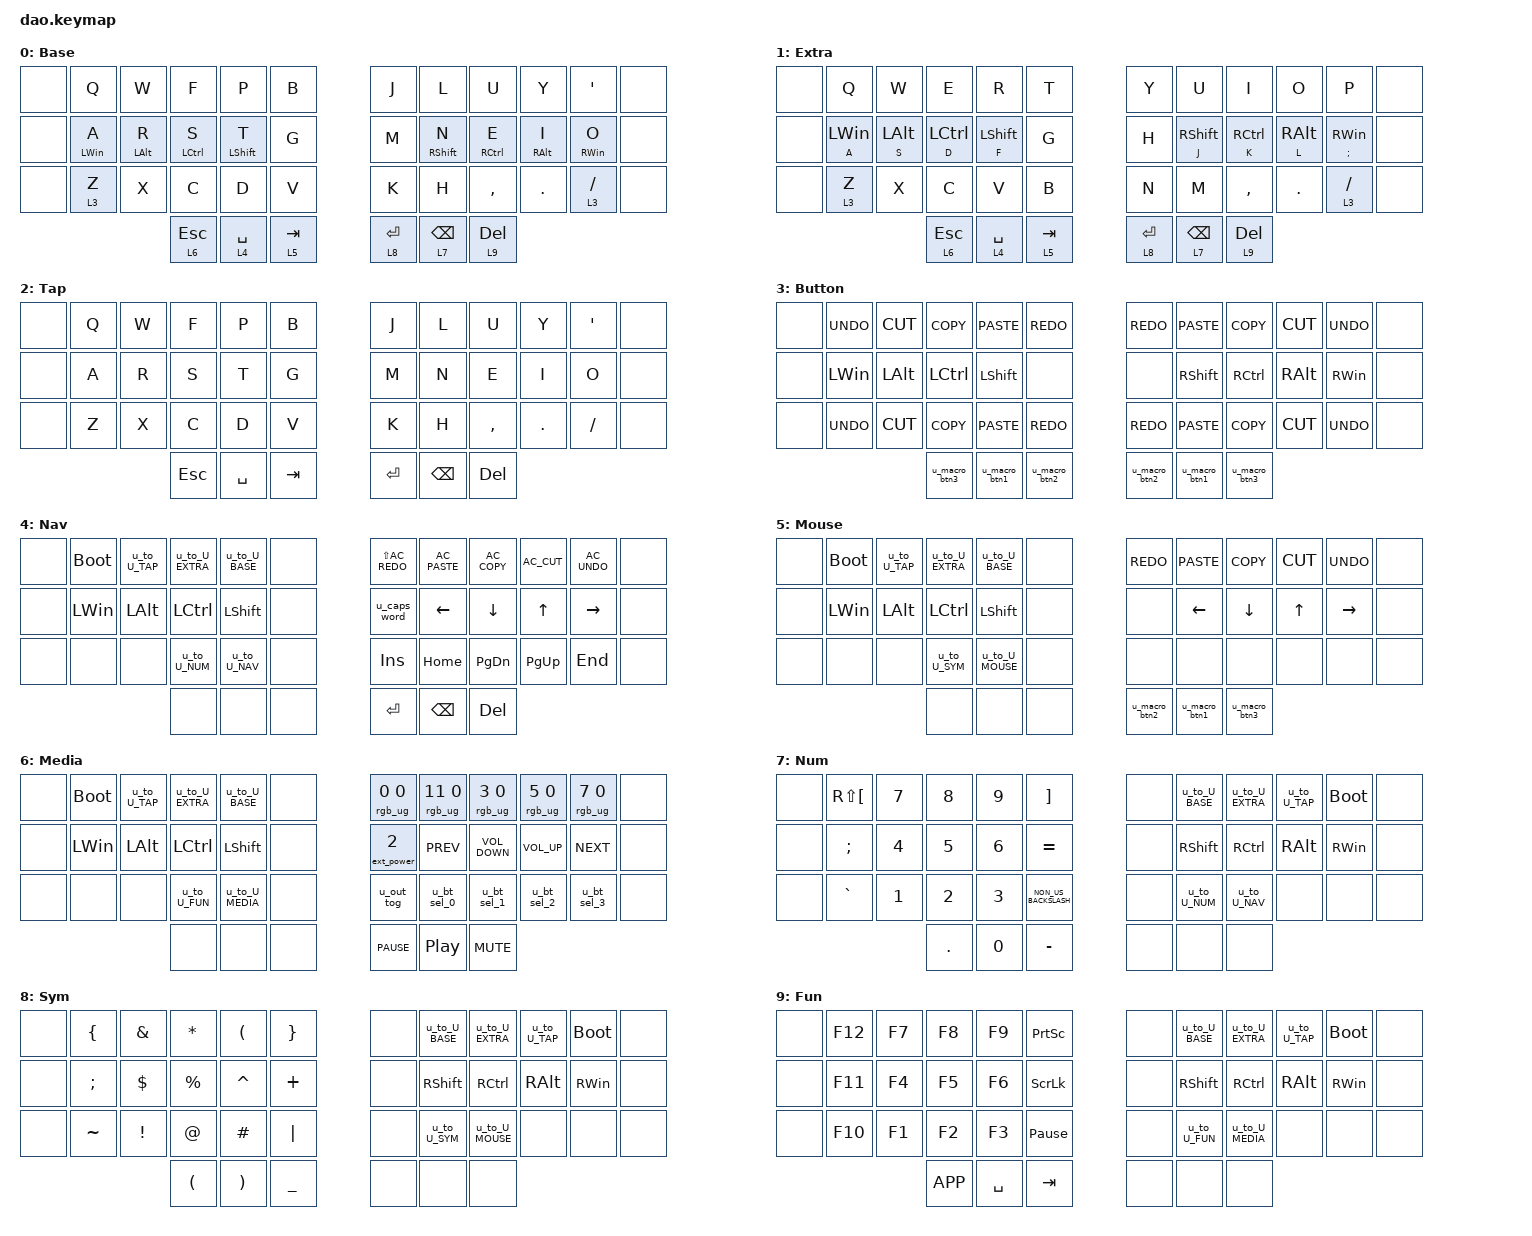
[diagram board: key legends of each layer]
/*
 * Copyright (c) 2021 Rafael Yumagulov
 *
 * SPDX-License-Identifier: MIT
 */

#include <behaviors.dtsi>
#include <dt-bindings/zmk/bt.h>
#include <dt-bindings/zmk/ext_power.h>
#include <dt-bindings/zmk/keys.h>
#include <dt-bindings/zmk/outputs.h>
#include <dt-bindings/zmk/rgb.h>

/ {
    behaviors {
        /omit-if-no-ref/

        cp: kp: behavior_key_press {
            compatible = "zmk,behavior-key-press";
            label = "KEY_PRESS";
            #binding-cells = <1>;
        };
    };
};

/ {
    behaviors {
        /omit-if-no-ref/

        kt: behavior_key_toggle {
            compatible = "zmk,behavior-key-toggle";
            label = "KEY_TOGGLE";
            #binding-cells = <1>;
        };
    };
};

/ {
    behaviors {
        /omit-if-no-ref/

        trans: behavior_transparent {
            compatible = "zmk,behavior-transparent";
            label = "TRANS";
            #binding-cells = <0>;
        };
    };
};

/ {
    behaviors {
        /omit-if-no-ref/

        none: behavior_none {
            compatible = "zmk,behavior-none";
            label = "NONE";
            #binding-cells = <0>;
        };
    };
};

/ {
    behaviors {
        /omit-if-no-ref/

        mt: behavior_mod_tap {
            compatible = "zmk,behavior-hold-tap";
            label = "MOD_TAP";
            #binding-cells = <2>;
            flavor = "hold-preferred";
            tapping-term-ms = <200>;
            bindings =
                <&kp>,
                <&kp>;
        };
    };
};

/ {
    behaviors {
        /omit-if-no-ref/

        lt: behavior_layer_tap {
            compatible = "zmk,behavior-hold-tap";
            label = "LAYER_TAP";
            #binding-cells = <2>;
            flavor = "tap-preferred";
            tapping-term-ms = <200>;
            bindings =
                <&mo>,
                <&kp>;
        };
    };
};

/ {
    behaviors {
        /omit-if-no-ref/

        gresc: grave_escape {
            compatible = "zmk,behavior-mod-morph";
            label = "GRAVE_ESCAPE";
            #binding-cells = <0>;
            bindings =
                <&kp (((((0x07) << 16) | (0x29))))>,
                <&kp ((((0x07) << 16) | (0x35)))>;

            mods = <(0x08|0x02|0x80|0x20)>;
        };
    };
};

/ {
    behaviors {
        /omit-if-no-ref/

        sk: behavior_sticky_key {
            compatible = "zmk,behavior-sticky-key";
            label = "STICKY_KEY";
            #binding-cells = <1>;
            release-after-ms = <1000>;
            bindings = <&kp>;
            ignore-modifiers;
        };

        /omit-if-no-ref/

        sl: behavior_sticky_layer {
            compatible = "zmk,behavior-sticky-key";
            label = "STICKY_LAYER";
            #binding-cells = <1>;
            release-after-ms = <1000>;
            bindings = <&mo>;
            quick-release;
        };
    };
};

/ {
    behaviors {
        /omit-if-no-ref/

        mo: behavior_momentary_layer {
            compatible = "zmk,behavior-momentary-layer";
            label = "MO";
            #binding-cells = <1>;
        };
    };
};

/ {
    behaviors {
        /omit-if-no-ref/

        tog: behavior_toggle_layer {
            compatible = "zmk,behavior-toggle-layer";
            label = "TOGGLE_LAYER";
            #binding-cells = <1>;
        };
    };
};

/ {
    behaviors {
        /omit-if-no-ref/

        to: behavior_to_layer {
            compatible = "zmk,behavior-to-layer";
            label = "TO_LAYER";
            #binding-cells = <1>;
        };
    };
};

/ {
    behaviors {
        sys_reset: behavior_reset {
            compatible = "zmk,behavior-reset";
            label = "SYSRESET";
            #binding-cells = <0>;
        };
        bootloader: behavior_reset_dfu {
            compatible = "zmk,behavior-reset";
            label = "BOOTLOAD";
            type = <0x57>;
            #binding-cells = <0>;
        };
    };
};

/ {
    behaviors {
        /omit-if-no-ref/

        inc_dec_cp: inc_dec_kp: behavior_sensor_rotate_key_press {
            compatible = "zmk,behavior-sensor-rotate-var";
            label = "ENC_KEY_PRESS";
            sensor-#binding-cells = <2>;
            bindings =
                <&kp>,
                <&kp>;
        };
    };
};

/ {
    behaviors {
        rgb_ug: behavior_rgb_underglow {
            compatible = "zmk,behavior-rgb-underglow";
            label = "RGB_UG";
            #binding-cells = <2>;
        };
    };
};

/ {
    behaviors {
        /omit-if-no-ref/

        bt: behavior_bluetooth {
            compatible = "zmk,behavior-bluetooth";
            label = "BLUETOOTH";
            #binding-cells = <2>;
        };
    };
};

/ {
    behaviors {
        ext_power: behavior_ext_power {
            compatible = "zmk,behavior-ext-power";
            label = "EXTPOWER";
            #binding-cells = <1>;
        };
    };
};

/ {
    behaviors {
        /omit-if-no-ref/

        out: behavior_outputs {
            compatible = "zmk,behavior-outputs";
            label = "OUTPUTS";
            #binding-cells = <1>;
        };
    };
};

/ {
    behaviors {
        /omit-if-no-ref/

        caps_word: behavior_caps_word {
            compatible = "zmk,behavior-caps-word";
            label = "CAPS_WORD";
            #binding-cells = <0>;
            continue-list = <((0x02 << 24 | (((0x07) << 16) | (0x2D)))) ((((0x07) << 16) | (0x2A))) ((((0x07) << 16) | (0x4C)))>;
        };
    };
};

/ {
    behaviors {
        /omit-if-no-ref/

        key_repeat: behavior_key_repeat {
            compatible = "zmk,behavior-key-repeat";
            label = "KEY_REPEAT";
            #binding-cells = <0>;
            usage-pages = <(0x07)>;
        };
    };
};

/ {
    behaviors {
        /omit-if-no-ref/

        bl: behavior_backlight {
            compatible = "zmk,behavior-backlight";
            label = "BCKLGHT";
            #binding-cells = <2>;
        };
    };
};

/ {
    behaviors {
        macro_tap: macro_control_mode_tap {
            compatible = "zmk,macro-control-mode-tap";
            label = "MAC_TAP";
            #binding-cells = <0>;
        };
        macro_press: macro_control_mode_press {
            compatible = "zmk,macro-control-mode-press";
            label = "MAC_PRESS";
            #binding-cells = <0>;
        };
        macro_release: macro_control_mode_release {
            compatible = "zmk,macro-control-mode-release";
            label = "MAC_REL";
            #binding-cells = <0>;
        };
        macro_tap_time: macro_control_tap_time {
            compatible = "zmk,macro-control-tap-time";
            label = "MAC_TAP_TIME";
            #binding-cells = <1>;
        };
        macro_wait_time: macro_control_wait_time {
            compatible = "zmk,macro-control-wait-time";
            label = "MAC_WAIT_TIME";
            #binding-cells = <1>;
        };
        macro_pause_for_release: macro_pause_for_release {
            compatible = "zmk,macro-pause-for-release";
            label = "MAC_WAIT_REL";
            #binding-cells = <0>;
        };
        macro_param_1to1: macro_param_1to1 {
            compatible = "zmk,macro-param-1to1";
            label = "MAC_PARAM_1TO1";
            #binding-cells = <0>;
        };
        macro_param_1to2: macro_param_1to2 {
            compatible = "zmk,macro-param-1to2";
            label = "MAC_PARAM_1TO2";
            #binding-cells = <0>;
        };
        macro_param_2to1: macro_param_2to1 {
            compatible = "zmk,macro-param-2to1";
            label = "MAC_PARAM_2TO1";
            #binding-cells = <0>;
        };
        macro_param_2to2: macro_param_2to2 {
            compatible = "zmk,macro-param-2to2";
            label = "MAC_PARAM_2TO2";
            #binding-cells = <0>;
        };
    };
};

/ {
    keymap {
        compatible = "zmk,keymap";

        BASE {
            label = "Base";
            bindings = <
&none       &kp Q       &kp W         &kp F        &kp P      &kp B          &kp J            &kp L         &kp U       &kp Y      &kp SQT  &none
&none  &mt LWIN A  &mt LALT R   &mt LCTRL S  &mt LSHFT T      &kp G          &kp M      &mt RSHFT N   &mt RCTRL E  &mt RALT I   &mt RWIN O  &none
&none     &lt 3 Z       &kp X         &kp C        &kp D      &kp V          &kp K            &kp H     &kp COMMA  &kp PERIOD  &lt 3 SLASH  &none
                               &lt 6 ESCAPE  &lt 4 SPACE  &lt 5 TAB    &lt 8 ENTER  &lt 7 BACKSPACE  &lt 9 DELETE
            >;
        };

        EXTRA {
            label = "Extra";
            bindings = <
&none       &kp Q       &kp W         &kp E        &kp R      &kp T          &kp Y            &kp U         &kp I       &kp O               &kp P  &none
&none  &mt A LWIN  &mt S LALT   &mt D LCTRL  &mt F LSHFT      &kp G          &kp H      &mt J RSHFT   &mt K RCTRL  &mt L RALT  &mt SEMICOLON RWIN  &none
&none     &lt 3 Z       &kp X         &kp C        &kp V      &kp B          &kp N            &kp M     &kp COMMA  &kp PERIOD         &lt 3 SLASH  &none
                               &lt 6 ESCAPE  &lt 4 SPACE  &lt 5 TAB    &lt 8 ENTER  &lt 7 BACKSPACE  &lt 9 DELETE
            >;
        };

        TAP {
            label = "Tap";
            bindings = <
&none  &kp Q  &kp W       &kp F      &kp P    &kp B        &kp J          &kp L       &kp U       &kp Y    &kp SQT  &none
&none  &kp A  &kp R       &kp S      &kp T    &kp G        &kp M          &kp N       &kp E       &kp I      &kp O  &none
&none  &kp Z  &kp X       &kp C      &kp D    &kp V        &kp K          &kp H   &kp COMMA  &kp PERIOD  &kp SLASH  &none
                     &kp ESCAPE  &kp SPACE  &kp TAB    &kp ENTER  &kp BACKSPACE  &kp DELETE
            >;
        };

        BUTTON {
            label = "Button";
            bindings = <
&none  &kp K_UNDO  &kp K_CUT     &kp K_COPY    &kp K_PASTE     &kp K_REDO       &kp K_REDO    &kp K_PASTE     &kp K_COPY  &kp K_CUT  &kp K_UNDO  &none
&none    &kp LWIN   &kp LALT      &kp LCTRL      &kp LSHFT          &none            &none      &kp RSHFT      &kp RCTRL   &kp RALT    &kp RWIN  &none
&none  &kp K_UNDO  &kp K_CUT     &kp K_COPY    &kp K_PASTE     &kp K_REDO       &kp K_REDO    &kp K_PASTE     &kp K_COPY  &kp K_CUT  &kp K_UNDO  &none
                              &u_macro_btn3  &u_macro_btn1  &u_macro_btn2    &u_macro_btn2  &u_macro_btn1  &u_macro_btn3
            >;
        };

        NAV {
            label = "Nav";
            bindings = <
&none  &bootloader  &u_to_U_TAP  &u_to_U_EXTRA  &u_to_U_BASE  &none    &kp LS(C_AC_REDO)  &kp C_AC_PASTE  &kp C_AC_COPY  &kp C_AC_CUT  &kp C_AC_UNDO  &none
&none     &kp LWIN     &kp LALT      &kp LCTRL     &kp LSHFT  &none         &u_caps_word        &kp LEFT       &kp DOWN  &kp UP_ARROW      &kp RIGHT  &none
&none        &none        &none    &u_to_U_NUM   &u_to_U_NAV  &none           &kp INSERT        &kp HOME  &kp PAGE_DOWN   &kp PAGE_UP        &kp END  &none
                                         &none         &none  &none            &kp ENTER   &kp BACKSPACE     &kp DELETE
            >;
        };

        MOUSE {
            label = "Mouse";
            bindings = <
&none  &bootloader  &u_to_U_TAP  &u_to_U_EXTRA   &u_to_U_BASE  &none       &kp K_REDO    &kp K_PASTE     &kp K_COPY  &kp K_CUT  &kp K_UNDO  &none
&none     &kp LWIN     &kp LALT      &kp LCTRL      &kp LSHFT  &none            &none       &kp LEFT       &kp DOWN     &kp UP   &kp RIGHT  &none
&none        &none        &none    &u_to_U_SYM  &u_to_U_MOUSE  &none            &none          &none          &none      &none       &none  &none
                                         &none          &none  &none    &u_macro_btn2  &u_macro_btn1  &u_macro_btn3
            >;
        };

        MEDIA {
            label = "Media";
            bindings = <
&none  &bootloader  &u_to_U_TAP  &u_to_U_EXTRA   &u_to_U_BASE  &none     &rgb_ug 0 0      &rgb_ug 11 0        &rgb_ug 3 0      &rgb_ug 5 0  &rgb_ug 7 0  &none
&none     &kp LWIN     &kp LALT      &kp LCTRL      &kp LSHFT  &none    &ext_power 2        &kp C_PREV  &kp C_VOLUME_DOWN  &kp C_VOLUME_UP   &kp C_NEXT  &none
&none        &none        &none    &u_to_U_FUN  &u_to_U_MEDIA  &none      &u_out_tog       &u_bt_sel_0        &u_bt_sel_1      &u_bt_sel_2  &u_bt_sel_3  &none
                                         &none          &none  &none     &kp C_PAUSE  &kp C_PLAY_PAUSE         &kp C_MUTE
            >;
        };

        NUM {
            label = "Num";
            bindings = <
&none  &kp RS(LEFT_BRACKET)  &kp NUMBER_7  &kp NUMBER_8  &kp NUMBER_9     &kp RIGHT_BRACKET    &none  &u_to_U_BASE  &u_to_U_EXTRA  &u_to_U_TAP  &bootloader  &none
&none         &kp SEMICOLON  &kp NUMBER_4  &kp NUMBER_5  &kp NUMBER_6             &kp EQUAL    &none     &kp RSHFT      &kp RCTRL     &kp RALT     &kp RWIN  &none
&none             &kp GRAVE  &kp NUMBER_1  &kp NUMBER_2  &kp NUMBER_3  &kp NON_US_BACKSLASH    &none   &u_to_U_NUM    &u_to_U_NAV        &none        &none  &none
                                             &kp PERIOD  &kp NUMBER_0             &kp MINUS    &none         &none          &none
            >;
        };

        SYM {
            label = "Sym";
            bindings = <
&none       &kp LBRC    &kp AMPERSAND          &kp ASTERISK   &kp LEFT_PARENTHESIS  &kp RIGHT_BRACE    &none  &u_to_U_BASE  &u_to_U_EXTRA  &u_to_U_TAP  &bootloader  &none
&none  &kp SEMICOLON       &kp DOLLAR           &kp PERCENT              &kp CARET         &kp PLUS    &none     &kp RSHFT      &kp RCTRL     &kp RALT     &kp RWIN  &none
&none      &kp TILDE  &kp EXCLAMATION           &kp AT_SIGN               &kp HASH         &kp PIPE    &none   &u_to_U_SYM  &u_to_U_MOUSE        &none        &none  &none
                                       &kp LEFT_PARENTHESIS  &kp RIGHT_PARENTHESIS   &kp UNDERSCORE    &none         &none          &none
            >;
        };

        FUN {
            label = "Fun";
            bindings = <
&none  &kp F12  &kp F7     &kp F8     &kp F9        &kp PSCRN    &none  &u_to_U_BASE  &u_to_U_EXTRA  &u_to_U_TAP  &bootloader  &none
&none  &kp F11  &kp F4     &kp F5     &kp F6   &kp SCROLLLOCK    &none     &kp RSHFT      &kp RCTRL     &kp RALT     &kp RWIN  &none
&none  &kp F10  &kp F1     &kp F2     &kp F3  &kp PAUSE_BREAK    &none   &u_to_U_FUN  &u_to_U_MEDIA        &none        &none  &none
                        &kp K_APP  &kp SPACE          &kp TAB    &none         &none          &none
            >;
        };
    };
};

/ {
    macros {
        u_macro_u_bt_sel_0: u_macro_u_bt_sel_0 {
            label = "ZM_u_macro_u_bt_sel_0";
            compatible = "zmk,behavior-macro";
            #binding-cells = <0>;
            wait-ms = <0>;
            bindings = <&bt 3 0 &bt 0 0>;
        };
    };
};

/ {
    behaviors {
        u_bt_sel_0: u_bt_sel_0 {
            compatible = "zmk,behavior-mod-morph";
            label = "u_bt_sel_0";
            #binding-cells = <0>;
            bindings =
                <&bt 3 0>,
                <&u_macro_u_bt_sel_0>;

            mods = <(0x02|0x20)>;
        };
    };
};

/ {
    macros {
        u_macro_u_bt_sel_1: u_macro_u_bt_sel_1 {
            label = "ZM_u_macro_u_bt_sel_1";
            compatible = "zmk,behavior-macro";
            #binding-cells = <0>;
            wait-ms = <0>;
            bindings = <&bt 3 1 &bt 0 0>;
        };
    };
};

/ {
    behaviors {
        u_bt_sel_1: u_bt_sel_1 {
            compatible = "zmk,behavior-mod-morph";
            label = "u_bt_sel_1";
            #binding-cells = <0>;
            bindings =
                <&bt 3 1>,
                <&u_macro_u_bt_sel_1>;

            mods = <(0x02|0x20)>;
        };
    };
};

/ {
    macros {
        u_macro_u_bt_sel_2: u_macro_u_bt_sel_2 {
            label = "ZM_u_macro_u_bt_sel_2";
            compatible = "zmk,behavior-macro";
            #binding-cells = <0>;
            wait-ms = <0>;
            bindings = <&bt 3 2 &bt 0 0>;
        };
    };
};

/ {
    behaviors {
        u_bt_sel_2: u_bt_sel_2 {
            compatible = "zmk,behavior-mod-morph";
            label = "u_bt_sel_2";
            #binding-cells = <0>;
            bindings =
                <&bt 3 2>,
                <&u_macro_u_bt_sel_2>;

            mods = <(0x02|0x20)>;
        };
    };
};

/ {
    macros {
        u_macro_u_bt_sel_3: u_macro_u_bt_sel_3 {
            label = "ZM_u_macro_u_bt_sel_3";
            compatible = "zmk,behavior-macro";
            #binding-cells = <0>;
            wait-ms = <0>;
            bindings = <&bt 3 3 &bt 0 0>;
        };
    };
};

/ {
    behaviors {
        u_bt_sel_3: u_bt_sel_3 {
            compatible = "zmk,behavior-mod-morph";
            label = "u_bt_sel_3";
            #binding-cells = <0>;
            bindings =
                <&bt 3 3>,
                <&u_macro_u_bt_sel_3>;

            mods = <(0x02|0x20)>;
        };
    };
};

/ {
    macros {
        u_macro_u_bt_sel_4: u_macro_u_bt_sel_4 {
            label = "ZM_u_macro_u_bt_sel_4";
            compatible = "zmk,behavior-macro";
            #binding-cells = <0>;
            wait-ms = <0>;
            bindings = <&bt 3 4 &bt 0 0>;
        };
    };
};

/ {
    behaviors {
        u_bt_sel_4: u_bt_sel_4 {
            compatible = "zmk,behavior-mod-morph";
            label = "u_bt_sel_4";
            #binding-cells = <0>;
            bindings =
                <&bt 3 4>,
                <&u_macro_u_bt_sel_4>;

            mods = <(0x02|0x20)>;
        };
    };
};

/ {
    behaviors {
        u_out_tog: u_out_tog {
            compatible = "zmk,behavior-mod-morph";
            label = "u_out_tog";
            #binding-cells = <0>;
            bindings =
                <&out 0>,
                <&out 1>;

            mods = <(0x02|0x20)>;
        };
    };
};

/ {
    behaviors {
        u_caps_word: u_caps_word {
            compatible = "zmk,behavior-mod-morph";
            label = "u_caps_word";
            #binding-cells = <0>;
            bindings =
                <&caps_word>,
                <&kp (((((0x07) << 16) | (0x39))))>;

            mods = <(0x02|0x20)>;
        };
    };
};

/ {
    behaviors {
        u_to_U_BASE: u_to_U_BASE {
            compatible = "zmk,behavior-tap-dance";
            label = "u_to_U_BASE";
            #binding-cells = <0>;
            tapping-term-ms = <200>;
            bindings =
                <&none>,
                <&to 0>;
        };
    };
};

/ {
    behaviors {
        u_to_U_EXTRA: u_to_U_EXTRA {
            compatible = "zmk,behavior-tap-dance";
            label = "u_to_U_EXTRA";
            #binding-cells = <0>;
            tapping-term-ms = <200>;
            bindings =
                <&none>,
                <&to 1>;
        };
    };
};

/ {
    behaviors {
        u_to_U_TAP: u_to_U_TAP {
            compatible = "zmk,behavior-tap-dance";
            label = "u_to_U_TAP";
            #binding-cells = <0>;
            tapping-term-ms = <200>;
            bindings =
                <&none>,
                <&to 2>;
        };
    };
};

/ {
    behaviors {
        u_to_U_BUTTON: u_to_U_BUTTON {
            compatible = "zmk,behavior-tap-dance";
            label = "u_to_U_BUTTON";
            #binding-cells = <0>;
            tapping-term-ms = <200>;
            bindings =
                <&none>,
                <&to 3>;
        };
    };
};

/ {
    behaviors {
        u_to_U_NAV: u_to_U_NAV {
            compatible = "zmk,behavior-tap-dance";
            label = "u_to_U_NAV";
            #binding-cells = <0>;
            tapping-term-ms = <200>;
            bindings =
                <&none>,
                <&to 4>;
        };
    };
};

/ {
    behaviors {
        u_to_U_MOUSE: u_to_U_MOUSE {
            compatible = "zmk,behavior-tap-dance";
            label = "u_to_U_MOUSE";
            #binding-cells = <0>;
            tapping-term-ms = <200>;
            bindings =
                <&none>,
                <&to 5>;
        };
    };
};

/ {
    behaviors {
        u_to_U_MEDIA: u_to_U_MEDIA {
            compatible = "zmk,behavior-tap-dance";
            label = "u_to_U_MEDIA";
            #binding-cells = <0>;
            tapping-term-ms = <200>;
            bindings =
                <&none>,
                <&to 6>;
        };
    };
};

/ {
    behaviors {
        u_to_U_NUM: u_to_U_NUM {
            compatible = "zmk,behavior-tap-dance";
            label = "u_to_U_NUM";
            #binding-cells = <0>;
            tapping-term-ms = <200>;
            bindings =
                <&none>,
                <&to 7>;
        };
    };
};

/ {
    behaviors {
        u_to_U_SYM: u_to_U_SYM {
            compatible = "zmk,behavior-tap-dance";
            label = "u_to_U_SYM";
            #binding-cells = <0>;
            tapping-term-ms = <200>;
            bindings =
                <&none>,
                <&to 8>;
        };
    };
};

/ {
    behaviors {
        u_to_U_FUN: u_to_U_FUN {
            compatible = "zmk,behavior-tap-dance";
            label = "u_to_U_FUN";
            #binding-cells = <0>;
            tapping-term-ms = <200>;
            bindings =
                <&none>,
                <&to 9>;
        };
    };
};

/ {
    macros {
        u_macro_btn1: u_macro_btn1 {
            label = "ZM_u_macro_btn1";
            compatible = "zmk,behavior-macro";
            #binding-cells = <0>;
            wait-ms = <0>;
            bindings = <&kp &kp>;
        };
    };
};

/ {
    macros {
        u_macro_btn2: u_macro_btn2 {
            label = "ZM_u_macro_btn2";
            compatible = "zmk,behavior-macro";
            #binding-cells = <0>;
            wait-ms = <0>;
            bindings = <&kp &kp>;
        };
    };
};

/ {
    macros {
        u_macro_btn3: u_macro_btn3 {
            label = "ZM_u_macro_btn3";
            compatible = "zmk,behavior-macro";
            #binding-cells = <0>;
            wait-ms = <0>;
            bindings = <&kp &kp>;
        };
    };
};

/ {
    behaviors {
        u_mt: u_mt {
            compatible = "zmk,behavior-hold-tap";
            label = "u_mt";
            #binding-cells = <2>;
            tapping_term_ms = <200>;
            flavor = "tap-preferred";
            bindings =
                <&kp>,
                <&kp>;
        };
        u_lt: u_lt {
            compatible = "zmk,behavior-hold-tap";
            label = "u_lt";
            #binding-cells = <2>;
            tapping_term_ms = <200>;
            flavor = "tap-preferred";
            bindings =
                <&mo>,
                <&kp>;
        };
    };
};
